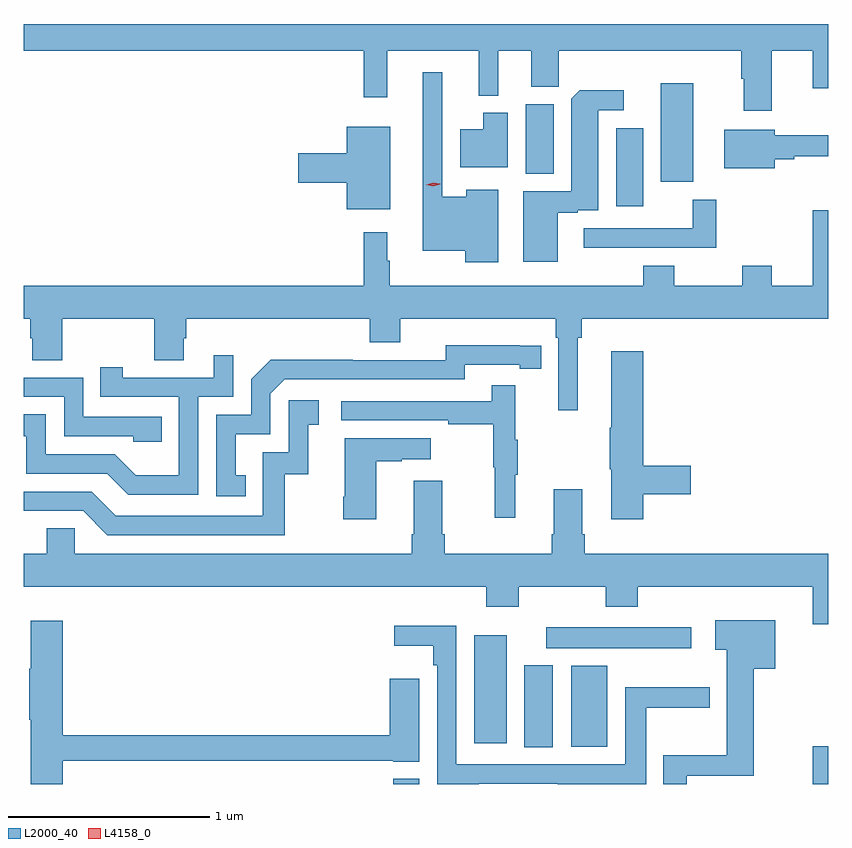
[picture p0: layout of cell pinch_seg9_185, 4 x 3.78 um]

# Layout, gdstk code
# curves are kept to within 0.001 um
import gdstk
lib = gdstk.Library(unit=1e-6, precision=1e-09)
def R(c, l, rs):  # rectangles x0, y0, x1, y1
    for r in rs: c.add(gdstk.rectangle(r[:2], r[2:], *l))
def P(c, l, *ps):  # polygons
    for p in ps: c.add(gdstk.Polygon(p, *l))
L2000_40 = (2000, 40)
L4158_0 = (4158, 0)

pinch_seg9_185 = lib.new_cell('pinch_seg9_185')
R(pinch_seg9_185, L2000_40, [(882.203,1244.723,882.331,1244.749), (884.288,1244.723,884.365,1244.911), (882.854,1244.905,882.994,1245.313), (883.088,1244.909,883.267,1245.31), (882.605,1244.925,882.766,1245.463), (882.963,1245.398,883.684,1245.502), (883.31,1247.594,883.444,1247.983), (883.532,1247.715,883.693,1248.205), (882.86,1247.755,883,1248.102)])
P(pinch_seg9_185, L2000_40, [(884.083,1248.368),(884.288,1248.368),(884.288,1248.18),(884.365,1248.18),(884.365,1248.5),(880.365,1248.5),(880.365,1248.368),(882.055,1248.368),(882.055,1248.135),(882.173,1248.135),(882.173,1248.368),(882.626,1248.368),(882.626,1248.143),(882.724,1248.143),(882.724,1248.368),(882.887,1248.368),(882.887,1248.187),(883.025,1248.187),(883.025,1248.368),(883.931,1248.368),(883.931,1248.227),(883.943,1248.227),(883.943,1248.069),(884.083,1248.069)],
  [(882.724,1247.677),(882.566,1247.677),(882.566,1247.641),(882.447,1247.641),(882.447,1248.259),(882.35,1248.259),(882.35,1247.372),(882.559,1247.372),(882.559,1247.315),(882.724,1247.315)],
  [(883.021,1247.562),(883.118,1247.562),(883.118,1247.574),(883.222,1247.574),(883.222,1248.072),(883.348,1248.072),(883.348,1248.17),(883.129,1248.17),(883.088,1248.128),(883.088,1247.67),(882.848,1247.67),(882.848,1247.319),(883.021,1247.319)],
  [(882.772,1248.058),(882.65,1248.058),(882.65,1247.977),(882.536,1247.977),(882.536,1247.789),(882.772,1247.789)],
  [(882.187,1247.989),(881.972,1247.989),(881.972,1247.858),(881.73,1247.858),(881.73,1247.711),(881.972,1247.711),(881.972,1247.579),(882.187,1247.579)],
  [(884.098,1247.827),(884.194,1247.827),(884.194,1247.842),(884.365,1247.842),(884.365,1247.946),(884.098,1247.946),(884.098,1247.974),(883.847,1247.974),(883.847,1247.783),(884.098,1247.783)],
  [(883.808,1247.626),(883.69,1247.626),(883.69,1247.484),(883.149,1247.484),(883.149,1247.388),(883.808,1247.388)],
  [(883.12,1246.94),(883.139,1246.94),(883.139,1247.036),(884.365,1247.036),(884.365,1247.575),(884.288,1247.575),(884.288,1247.2),(884.083,1247.2),(884.083,1247.299),(883.936,1247.299),(883.936,1247.2),(883.599,1247.2),(883.599,1247.299),(883.444,1247.299),(883.444,1247.2),(882.184,1247.2),(882.184,1247.324),(882.172,1247.324),(882.172,1247.464),(882.055,1247.464),(882.055,1247.2),(880.365,1247.2),(880.365,1247.036),(880.397,1247.036),(880.397,1246.938),(880.409,1246.938),(880.409,1246.828),(880.557,1246.828),(880.557,1247.036),(881.014,1247.036),(881.014,1246.828),(881.161,1246.828),(881.161,1246.938),(881.174,1246.938),(881.174,1247.036),(882.086,1247.036),(882.086,1246.919),(882.238,1246.919),(882.238,1247.036),(883.01,1247.036),(883.01,1246.94),(883.023,1246.94),(883.023,1246.581),(883.12,1246.581)],
  [(881.468,1246.257),(881.419,1246.257),(881.419,1246.461),(881.592,1246.461),(881.592,1246.662),(881.664,1246.734),(882.558,1246.734),(882.558,1246.806),(882.83,1246.806),(882.83,1246.786),(882.938,1246.786),(882.938,1246.902),(882.462,1246.903),(882.462,1246.83),(882.002,1246.83),(882.002,1246.832),(881.594,1246.832),(881.496,1246.734),(881.496,1246.557),(881.322,1246.557),(881.322,1246.152),(881.468,1246.152)],
  [(883.445,1246.162),(883.681,1246.162),(883.681,1246.304),(883.445,1246.304),(883.445,1246.873),(883.286,1246.873),(883.286,1246.493),(883.279,1246.493),(883.279,1246.287),(883.286,1246.287),(883.286,1246.038),(883.445,1246.038)],
  [(881.232,1246.647),(881.406,1246.647),(881.406,1246.855),(881.309,1246.855),(881.309,1246.743),(880.858,1246.743),(880.858,1246.795),(880.747,1246.795),(880.747,1246.647),(881.136,1246.647),(881.136,1246.258),(880.922,1246.258),(880.818,1246.362),(880.476,1246.362),(880.476,1246.561),(880.365,1246.561),(880.365,1246.451),(880.378,1246.451),(880.378,1246.266),(880.781,1246.266),(880.886,1246.161),(881.232,1246.161)],
  [(881.051,1246.548),(880.662,1246.548),(880.662,1246.743),(880.365,1246.743),(880.365,1246.647),(880.566,1246.647),(880.566,1246.452),(880.911,1246.452),(880.911,1246.425),(881.051,1246.425)],
  [(882.809,1246.259),(882.82,1246.259),(882.82,1246.433),(882.809,1246.433),(882.809,1246.705),(882.691,1246.705),(882.691,1246.626),(881.943,1246.626),(881.943,1246.53),(882.475,1246.53),(882.475,1246.51),(882.699,1246.51),(882.699,1246.296),(882.706,1246.296),(882.706,1246.047),(882.809,1246.047)],
  [(881.662,1246.263),(881.78,1246.263),(881.78,1246.509),(881.833,1246.509),(881.833,1246.63),(881.682,1246.63),(881.682,1246.371),(881.553,1246.371),(881.553,1246.056),(880.824,1246.056),(880.704,1246.176),(880.365,1246.176),(880.365,1246.08),(880.662,1246.08),(880.782,1245.96),(881.662,1245.96)],
  [(882.118,1246.327),(882.245,1246.327),(882.245,1246.337),(882.388,1246.337),(882.388,1246.441),(881.96,1246.441),(881.96,1246.15),(881.953,1246.15),(881.953,1246.038),(882.118,1246.038)],
  [(884.365,1245.868),(883.154,1245.868),(883.154,1245.964),(883.141,1245.964),(883.141,1246.189),(883.001,1246.189),(883.001,1245.964),(882.989,1245.964),(882.989,1245.868),(882.458,1245.868),(882.458,1245.964),(882.445,1245.964),(882.445,1246.231),(882.305,1246.231),(882.305,1245.964),(882.293,1245.964),(882.293,1245.868),(880.62,1245.868),(880.62,1245.995),(880.481,1245.995),(880.481,1245.868),(880.365,1245.868),(880.365,1245.704),(882.665,1245.704),(882.665,1245.605),(882.825,1245.605),(882.825,1245.704),(883.258,1245.704),(883.258,1245.605),(883.418,1245.605),(883.418,1245.704),(884.288,1245.704),(884.288,1245.516),(884.365,1245.516)],
  [(883.662,1244.765),(883.994,1244.765),(883.994,1245.296),(884.101,1245.296),(884.101,1245.538),(883.803,1245.538),(883.803,1245.389),(883.859,1245.389),(883.859,1244.865),(883.544,1244.865),(883.544,1244.723),(883.662,1244.723)],
  [(880.559,1244.838),(882.201,1244.838),(882.201,1244.834),(882.331,1244.834),(882.331,1245.247),(882.185,1245.247),(882.185,1244.966),(880.559,1244.966),(880.559,1245.535),(880.4,1245.535),(880.4,1245.296),(880.393,1245.296),(880.393,1245.043),(880.4,1245.043),(880.4,1244.723),(880.559,1244.723)],
  [(882.627,1244.724),(883.021,1244.724),(883.021,1244.723),(883.459,1244.723),(883.459,1245.103),(883.774,1245.103),(883.774,1245.203),(883.355,1245.203),(883.355,1244.82),(882.516,1244.82),(882.516,1245.509),(882.207,1245.509),(882.207,1245.41),(882.4,1245.41),(882.4,1245.314),(882.42,1245.314),(882.42,1244.723),(882.627,1244.723)])
P(pinch_seg9_185, L4158_0, [(882.401,1247.693),(882.365,1247.7),(882.365,1247.7),(882.365,1247.701),(882.4,1247.712),(882.436,1247.705),(882.436,1247.705),(882.436,1247.704)])

lib.write_gds('pinch_seg9_185.gds')
